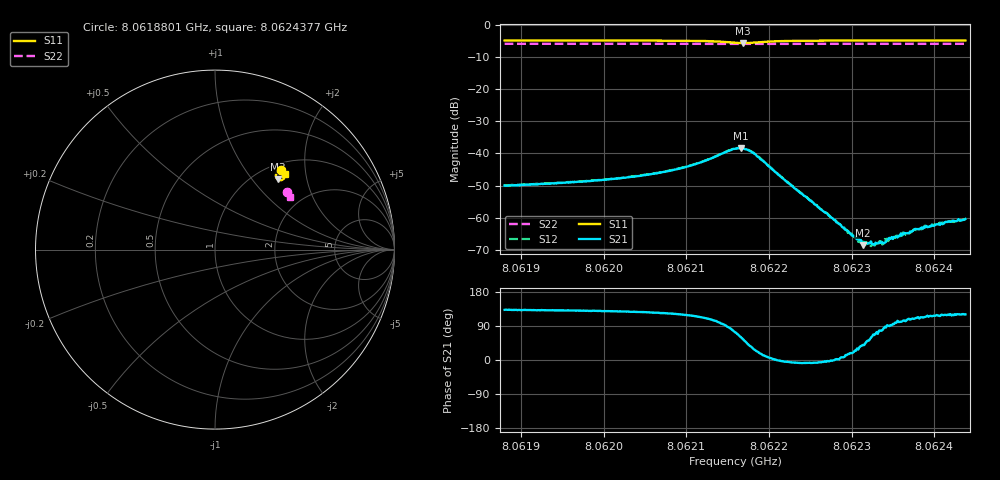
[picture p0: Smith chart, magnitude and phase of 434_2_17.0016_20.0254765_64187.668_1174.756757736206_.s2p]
#  HZ  S  RI  R  50.00
! Rohde & Schwarz Vector Network Analyzer
! Rohde-Schwarz,ZNB20-2Port,1311601062101988,3.16
! Created: UTC 3/20/2024, 11:11:35 PM
! freq[Hz]  re:S11  im:S11  re:S21  im:S21  re:S12  im:S12  re:S22  im:S22
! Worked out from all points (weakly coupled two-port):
!   401 points, 8.0618801 GHz to 8.0624377 GHz, reference 50 ohm
!   highest |S21| = -38.28 dB at 8.0621659 GHz (marker M1); lowest = -68.5 dB at 8.0623137 GHz (marker M2)
!   lowest |S11| = -5.6 dB at 8.0621687 GHz (marker M3), VSWR 3.20, Z = 62.9 + j67.7 ohm
!   |S11| at or under -10 dB: nowhere
!   |S22| runs from -5.9 to -5.8 dB; largest |S21 - S12| = 0.00086
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8.06188012e9  0.3694 0.4421  -0.00214 0.00234  -0.00201 0.0025  0.4001 0.3187
8.06197352e9  0.376 0.4359  -0.00234 0.00278  -0.00216 0.00292  0.4034 0.3139
8.06202231e9  0.38 0.4317  -0.00257 0.00328  -0.00237 0.00343  0.4054 0.3114
8.06206692e9  0.3841 0.426  -0.00284 0.00412  -0.00259 0.00432  0.407 0.3089
8.06211014e9  0.3881 0.4154  -0.00295 0.00607  -0.0026 0.00633  0.4085 0.3065
8.06215893e9  0.3654 0.3861  0.00338 0.0113  0.00406 0.0113  0.4087 0.3029
8.0621659e9  0.3533 0.3883  0.00604 0.0106  0.00674 0.0103  0.4086 0.3031
8.06216869e9  0.3487 0.3909  0.00691 0.00984  0.0076 0.00936  0.4086 0.3032
8.06217566e9  0.3407 0.4013  0.00861 0.00716  0.00911 0.0067  0.4084 0.3033
8.06218402e9  0.3393 0.4151  0.00873 0.00405  0.00896 0.00365  0.4089 0.3036
8.06222027e9  0.3606 0.4353  0.00374 -0.000278  0.00376 -0.00054  0.4113 0.3024
8.06225233e9  0.3714 0.4346  0.00175 -0.000235  0.00171 -0.000331  0.4128 0.3006
8.06230251e9  0.38 0.4311  0.000491 0.000186  0.000495 0.000137  0.4147 0.2981
8.06231366e9  0.3814 0.4304  0.00029 0.000242  0.000339 0.00024  0.4152 0.2974
8.06232621e9  0.3827 0.4294  0.00015 0.000355  0.000183 0.000337  0.4157 0.2968
8.06233318e9  0.3834 0.429  8.68e-05 0.000391  0.000171 0.000386  0.4159 0.2964
8.06233876e9  0.3841 0.4286  4.62e-05 0.000393  9.82e-05 0.000431  0.4162 0.2962
8.06234573e9  0.3847 0.4281  3.79e-06 0.000485  2.35e-05 0.000467  0.4164 0.2959
8.06237779e9  0.3875 0.4262  -0.000237 0.000624  -0.000178 0.000617  0.4176 0.2941
8.06239034e9  0.3885 0.4254  -0.00031 0.000677  -0.000258 0.000689  0.418 0.2935
8.06241543e9  0.3904 0.4238  -0.000404 0.000753  -0.000373 0.000756  0.4189 0.2921
8.06243773e9  0.392 0.4226  -0.000483 0.000825  -0.000459 0.000826  0.4197 0.2909
